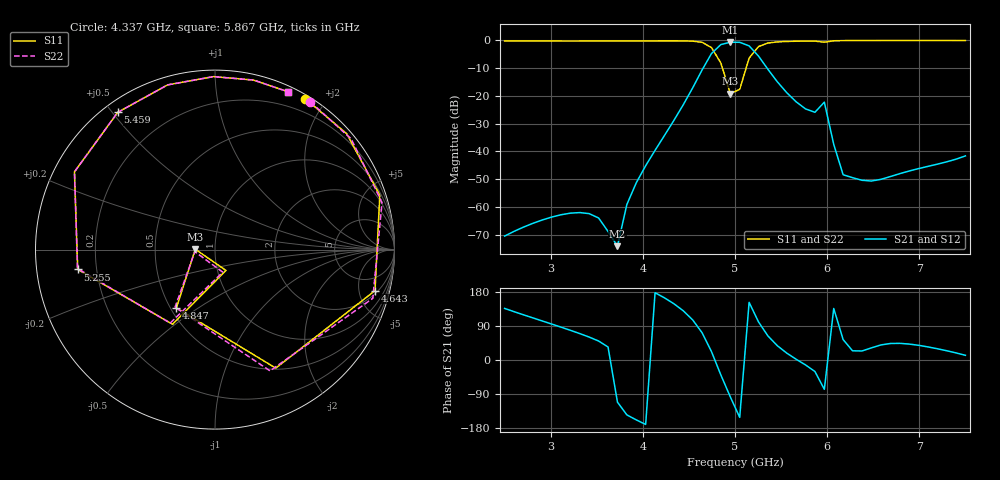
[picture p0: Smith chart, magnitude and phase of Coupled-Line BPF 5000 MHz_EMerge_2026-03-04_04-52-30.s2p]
! Generated by EMerge - 2-port S-parameters
! File generated: 2026-03-04 04:52
! --- Coupled-Line BPF 5000 MHz ---
! Substrate: RO4003C
! h = 0.508 mm
! W50 = 1.1 mm, Lfeed = 5 mm
! L1 = 8.93 mm, S1 = 0.1 mm, W1 = 0.76 mm
! L2 = 8.93 mm, S2 = 0.1 mm, W2 = 1.08 mm
! Run time = 0.89 min
# GHZ S RI R 50
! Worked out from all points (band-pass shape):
!   50 points, 2.5 GHz to 7.5 GHz, reference 50 ohm
!   highest |S21| = -0.68 dB at 4.949 GHz (marker M1); lowest = -74.1 dB at 3.724 GHz (marker M2)
!   |S21| within 3 dB of the highest: 4.779 GHz to 5.2 GHz (421.4 MHz wide, 8.45 % of centre)
!   lowest |S11| = -19.2 dB at 4.949 GHz (marker M3), VSWR 1.25, Z = 40.1 + j0.159 ohm
!   |S11| at or under -10 dB: 4.864 GHz to 5.12 GHz (256.7 MHz wide, 5.14 % of centre)
!   |S22| runs from -18.9 to 0.0 dB; largest |S21 - S12| = 0.00038
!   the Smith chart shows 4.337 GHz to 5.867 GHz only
!   S11 on the Smith chart (normalised r, x): 4.337 GHz: 0.04, +1.76; 4.643 GHz: 2.39, -7.15; 4.847 GHz: 0.54, -0.41; 5.255 GHz: 0.13, -0.07; 5.459 GHz: 0.04, +0.52; 5.867 GHz: 0.05, +1.56
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2.5  -0.786 -0.5774  -0.000215 0.000207  -0.000215 0.000208  -0.7938 -0.5663
3.010204  -0.9721 -0.0347  -5.63e-05 0.000654  -5.41e-05 0.000655  -0.9725 -0.0181
3.418367  -0.8594 0.4556  0.000373 0.000658  0.000378 0.000659  -0.8501 0.4728
3.72449  -0.5874 0.7773  -7.1e-05 -0.000183  -6.18e-05 -0.000183  -0.5693 0.7908
3.826531  -0.4576 0.8611  -0.000903 -0.000637  -0.000892 -0.000638  -0.4364 0.8722
4.234694  0.2709 0.9411  -0.0186 0.00533  -0.0186 0.00531  0.3015 0.932
4.336735  0.5012 0.8417  -0.0308 0.0189  -0.0308 0.0188  0.5311 0.8234
4.540816  0.9182 0.303  -0.0379 0.1341  -0.0379 0.134  0.9307 0.262
4.642857  0.8916 -0.2285  0.0907 0.2782  0.0906 0.2781  0.8793 -0.2715
4.744898  0.3384 -0.6604  0.5365 0.2171  0.5362 0.217  0.3065 -0.6756
4.846939  -0.2152 -0.3248  0.6461 -0.5368  0.6458 -0.5365  -0.2226 -0.321
4.94898  -0.1097 0.00195  -0.1165 -0.9169  -0.1165 -0.9165  -0.1123 -0.0115
5.05102  0.0611 -0.116  -0.8099 -0.4424  -0.8096 -0.4423  0.0431 -0.1257
5.153061  -0.2363 -0.4161  -0.7019 0.3718  -0.7017 0.3717  -0.2496 -0.4094
5.255102  -0.7649 -0.1105  -0.0952 0.5118  -0.0952 0.5117  -0.7662 -0.1055
5.459184  -0.5411 0.7653  0.1418 0.1098  0.1418 0.1098  -0.5429 0.7641
5.663265  -0.00758 0.9638  0.0782 0.00278  0.0782 0.00277  -0.00918 0.9637
5.867347  0.4055 0.8798  0.0437 -0.0256  0.0436 -0.0256  0.4054 0.8799
5.969388  0.5471 0.7471  0.0168 -0.0752  0.0166 -0.075  0.5476 0.7476
6.173469  0.7799 0.6064  0.00224 0.00306  0.00231 0.00307  0.7815 0.6044
6.683673  0.993 -0.046  0.00255 0.00242  0.00257 0.00241  0.9928 -0.0508
7.5  0.5206 -0.844  0.0081 0.00178  0.00812 0.00175  0.515 -0.8474
